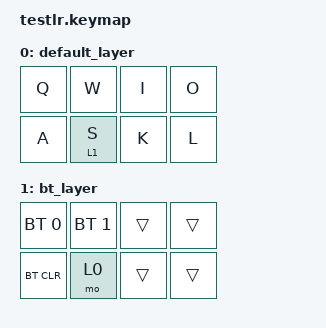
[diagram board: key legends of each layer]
#include <behaviors.dtsi>
#include <dt-bindings/zmk/bt.h>
#include <dt-bindings/zmk/keys.h>
#include <dt-bindings/zmk/pointing.h>

/ {
    keymap {
        compatible = "zmk,keymap";

        default_layer {
            bindings = <
                &kp Q   &kp W   &kp I     &kp O
                &kp A   &lt 1 S   &kp K     &kp L
            >;
        };
        bt_layer {
            bindings = <
                &bt BT_SEL 0 &bt BT_SEL 1 &trans &trans
                &bt BT_CLR   &mo 0 &trans &trans
            >;
        };
    };
};

